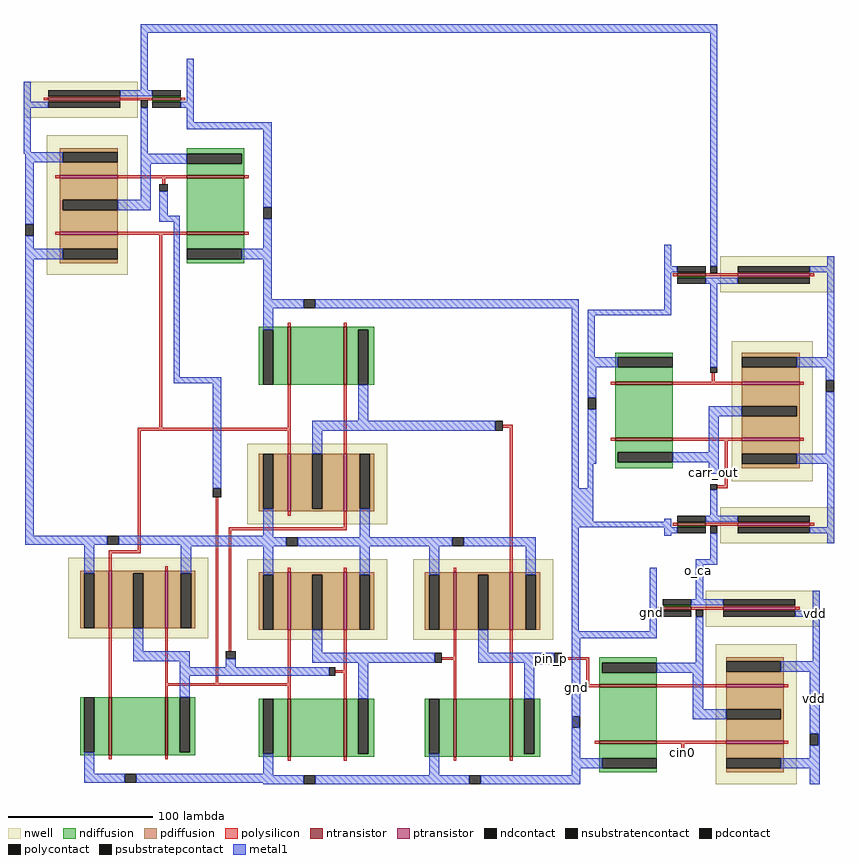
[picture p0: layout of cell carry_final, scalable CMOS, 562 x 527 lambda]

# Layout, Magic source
magic
tech scmos
<< nwell >>
rect 473 109 552 134
rect 480 0 536 97
<< ntransistor >>
rect 443 121 463 123
rect 399 67 439 69
rect 399 28 439 30
<< ptransistor >>
rect 485 121 535 123
rect 487 67 527 69
rect 487 28 527 30
<< ndiffusion >>
rect 443 123 463 124
rect 443 120 463 121
rect 399 84 439 88
rect 399 77 401 84
rect 399 69 439 77
rect 399 30 439 67
rect 399 18 439 28
rect 399 11 401 18
rect 399 8 439 11
<< pdiffusion >>
rect 485 123 535 124
rect 485 120 535 121
rect 487 85 527 88
rect 525 78 527 85
rect 487 69 527 78
rect 487 52 527 67
rect 525 45 527 52
rect 487 30 527 45
rect 487 18 527 28
rect 525 11 527 18
rect 487 8 527 11
<< ndcontact >>
rect 443 124 463 128
rect 443 116 463 120
rect 401 77 439 84
rect 401 11 439 18
<< pdcontact >>
rect 485 124 535 128
rect 485 116 535 120
rect 487 78 525 85
rect 487 45 525 52
rect 487 11 525 18
<< psubstratepcontact >>
rect 380 39 386 47
<< nsubstratencontact >>
rect 545 27 551 35
<< polysilicon >>
rect 440 121 443 123
rect 463 121 485 123
rect 535 121 538 123
rect 373 86 392 88
rect 390 69 392 86
rect 390 67 399 69
rect 439 67 487 69
rect 527 67 530 69
rect 396 28 399 30
rect 439 28 487 30
rect 527 28 530 30
rect 456 20 458 28
<< polycontact >>
rect 466 116 471 121
rect 368 83 373 91
<< metal1 >>
rect 81 521 481 527
rect 81 500 86 521
rect 476 375 481 521
rect 475 215 482 219
rect 384 178 392 205
rect 476 156 481 161
rect 466 152 481 156
rect 434 120 439 150
rect 466 128 471 152
rect 463 124 485 128
rect 434 116 443 120
rect 547 120 552 134
rect 535 116 552 120
rect 434 106 439 116
rect 380 101 439 106
rect 361 83 368 91
rect 380 47 386 101
rect 466 84 471 116
rect 547 85 552 116
rect 439 77 471 84
rect 525 78 552 85
rect 464 52 471 77
rect 464 45 487 52
rect 380 18 386 39
rect 545 35 552 78
rect 551 27 552 35
rect 545 18 552 27
rect 380 11 401 18
rect 525 11 552 18
rect 380 0 386 11
rect 545 0 552 11
use prop_tr1  prop_tr1_0
transform 1 0 -1 0 1 353
box 1 -353 386 153
use or_tr2  or_tr2_0
transform 0 1 391 -1 0 307
box -70 0 147 171
<< labels >>
rlabel metal1 383 67 383 67 3 gnd
rlabel metal1 548 59 548 59 7 vdd
rlabel metal1 435 119 435 119 3 gnd
rlabel metal1 549 118 549 118 7 vdd
rlabel polysilicon 457 22 457 22 1 cin0
rlabel metal1 468 148 468 148 1 o_ca
rlabel metal1 366 87 366 87 1 pin_p
rlabel metal1 478 216 478 216 1 carr_out
<< end >>

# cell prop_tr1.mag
magic
tech scmos
<< polysilicon >>
rect 97 63 99 67
rect 95 -107 97 28
rect 134 -284 136 -154
<< polycontact >>
rect 95 58 101 63
rect 132 -154 138 -148
<< metal1 >>
rect 82 148 87 153
rect 95 41 101 58
rect 95 37 109 41
rect 2 -181 8 12
rect 105 -71 109 37
rect 167 -18 173 12
rect 105 -75 138 -71
rect 132 -148 138 -75
rect 2 -187 44 -181
rect 354 -270 363 -262
use and_tr1  and_tr1_0
transform 0 -1 173 1 0 0
box 0 0 150 172
use xor_tr1  xor_tr1_0
transform 1 0 32 0 1 -352
box 0 -1 354 335
<< labels >>
rlabel polysilicon 96 -68 96 -68 1 p1
rlabel polysilicon 135 -169 135 -169 1 p2
rlabel metal1 359 -266 359 -266 1 pout
rlabel metal1 84 151 84 151 5 gout
<< end >>

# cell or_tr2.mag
magic
tech scmos
<< nwell >>
rect 115 92 140 171
<< ntransistor >>
rect 126 62 128 82
<< ptransistor >>
rect 126 104 128 154
<< ndiffusion >>
rect 125 62 126 82
rect 128 62 129 82
<< pdiffusion >>
rect 125 104 126 154
rect 128 104 129 154
<< ndcontact >>
rect 121 62 125 82
rect 129 62 133 82
<< pdcontact >>
rect 121 104 125 154
rect 129 104 133 154
<< polysilicon >>
rect 126 154 128 157
rect 69 95 102 97
rect 100 90 102 95
rect 22 86 28 88
rect 126 82 128 104
rect 126 59 128 62
<< polycontact >>
rect 18 85 22 90
rect 99 85 103 90
rect 128 85 133 90
<< metal1 >>
rect -36 166 12 171
rect 84 166 140 171
rect 129 154 133 166
rect -70 85 -65 90
rect -19 85 18 90
rect 83 84 89 91
rect 121 90 125 104
rect 103 85 125 90
rect 133 85 147 90
rect 121 82 125 85
rect 129 58 133 62
rect -22 5 -18 55
rect 123 53 135 58
rect -22 0 12 5
rect 125 4 129 53
rect 84 0 129 4
use first  first_0
transform 1 0 -145 0 1 96
box 78 -43 127 75
use nand_tr  nand_tr_0
transform 1 0 0 0 1 100
box 0 -100 97 71
<< labels >>
rlabel metal1 87 88 87 88 1 out_or
rlabel metal1 130 54 130 54 1 gnd
rlabel metal1 131 168 131 168 5 vdd
rlabel metal1 144 87 144 87 7 x_in2
<< end >>

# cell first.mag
magic
tech scmos
<< nwell >>
rect 86 -4 111 75
<< ntransistor >>
rect 98 -34 100 -14
<< ptransistor >>
rect 98 8 100 58
<< ndiffusion >>
rect 97 -34 98 -14
rect 100 -34 101 -14
<< pdiffusion >>
rect 97 8 98 58
rect 100 8 101 58
<< ndcontact >>
rect 93 -34 97 -14
rect 101 -34 105 -14
<< pdcontact >>
rect 93 8 97 58
rect 101 8 105 58
<< polysilicon >>
rect 98 58 100 61
rect 98 -14 100 8
rect 98 -37 100 -34
<< polycontact >>
rect 93 -11 98 -6
<< metal1 >>
rect 86 70 111 75
rect 93 58 97 70
rect 101 -6 105 8
rect 79 -11 93 -6
rect 101 -11 127 -6
rect 101 -14 105 -11
rect 93 -38 97 -34
rect 78 -43 127 -38
<< labels >>
rlabel metal1 96 -42 96 -42 1 gnd
rlabel metal1 95 72 95 72 5 vdd
<< end >>

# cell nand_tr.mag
magic
tech scmos
<< nwell >>
rect 0 0 97 56
<< ntransistor >>
rect 28 -81 30 -41
rect 67 -81 69 -41
<< ptransistor >>
rect 28 7 30 47
rect 67 7 69 47
<< ndiffusion >>
rect 8 -79 11 -41
rect 18 -79 28 -41
rect 8 -81 28 -79
rect 30 -81 67 -41
rect 69 -79 77 -41
rect 84 -79 88 -41
rect 69 -81 88 -79
<< pdiffusion >>
rect 8 45 28 47
rect 8 7 11 45
rect 18 7 28 45
rect 30 45 67 47
rect 30 7 45 45
rect 52 7 67 45
rect 69 45 88 47
rect 69 7 78 45
rect 85 7 88 45
<< ndcontact >>
rect 11 -79 18 -41
rect 77 -79 84 -41
<< pdcontact >>
rect 11 7 18 45
rect 45 7 52 45
rect 78 7 85 45
<< psubstratepcontact >>
rect 39 -100 47 -94
<< nsubstratencontact >>
rect 27 65 35 71
<< polysilicon >>
rect 28 47 30 50
rect 67 47 69 50
rect 28 -41 30 7
rect 67 -41 69 7
rect 28 -84 30 -81
rect 67 -84 69 -81
<< metal1 >>
rect 11 65 27 71
rect 35 65 85 71
rect 11 45 18 65
rect 78 45 85 65
rect 45 -9 52 7
rect 45 -16 84 -9
rect 77 -41 84 -16
rect 11 -94 18 -79
rect 11 -100 39 -94
rect 47 -100 85 -94
<< labels >>
rlabel metal1 67 -97 67 -97 1 gnd
rlabel metal1 59 68 59 68 5 vdd
<< end >>

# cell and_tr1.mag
magic
tech scmos
<< metal1 >>
rect 84 167 110 172
rect 83 86 103 91
rect 101 6 106 55
rect 84 0 106 6
use nand_tr  nand_tr_0
transform 1 0 0 0 1 100
box 0 -100 97 71
use first  first_0
transform 1 0 23 0 1 97
box 78 -43 127 75
<< end >>

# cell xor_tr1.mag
magic
tech scmos
<< nwell >>
rect 124 179 221 235
rect 124 99 221 155
rect 239 99 336 155
<< ntransistor >>
rect 152 276 154 316
rect 191 276 193 316
rect 152 18 154 58
rect 191 18 193 58
rect 267 18 269 58
rect 306 18 308 58
<< ptransistor >>
rect 152 188 154 228
rect 191 188 193 228
rect 152 106 154 146
rect 191 106 193 146
rect 267 106 269 146
rect 306 106 308 146
<< ndiffusion >>
rect 132 314 152 316
rect 132 276 135 314
rect 142 276 152 314
rect 154 276 191 316
rect 193 314 212 316
rect 193 276 201 314
rect 208 276 212 314
rect 132 20 135 58
rect 142 20 152 58
rect 132 18 152 20
rect 154 18 191 58
rect 193 20 201 58
rect 208 20 212 58
rect 193 18 212 20
rect 247 20 250 58
rect 257 20 267 58
rect 247 18 267 20
rect 269 18 306 58
rect 308 20 316 58
rect 323 20 327 58
rect 308 18 327 20
<< pdiffusion >>
rect 132 190 135 228
rect 142 190 152 228
rect 132 188 152 190
rect 154 190 169 228
rect 176 190 191 228
rect 154 188 191 190
rect 193 190 202 228
rect 209 190 212 228
rect 193 188 212 190
rect 132 144 152 146
rect 132 106 135 144
rect 142 106 152 144
rect 154 144 191 146
rect 154 106 169 144
rect 176 106 191 144
rect 193 144 212 146
rect 193 106 202 144
rect 209 106 212 144
rect 247 144 267 146
rect 247 106 250 144
rect 257 106 267 144
rect 269 144 306 146
rect 269 106 284 144
rect 291 106 306 144
rect 308 144 327 146
rect 308 106 317 144
rect 324 106 327 144
<< ndcontact >>
rect 135 276 142 314
rect 201 276 208 314
rect 135 20 142 58
rect 201 20 208 58
rect 250 20 257 58
rect 316 20 323 58
<< pdcontact >>
rect 135 190 142 228
rect 169 190 176 228
rect 202 190 209 228
rect 135 106 142 144
rect 169 106 176 144
rect 202 106 209 144
rect 250 106 257 144
rect 284 106 291 144
rect 317 106 324 144
<< psubstratepcontact >>
rect 163 329 171 335
rect 163 -1 171 5
rect 278 -1 286 5
<< nsubstratencontact >>
rect 151 164 159 170
rect 266 164 274 170
<< polysilicon >>
rect 152 316 154 319
rect 191 316 193 319
rect 152 246 154 276
rect 48 244 154 246
rect 48 161 50 244
rect 152 228 154 244
rect 191 228 193 276
rect 301 246 308 248
rect 152 185 154 188
rect 191 177 193 188
rect 28 159 50 161
rect 111 175 193 177
rect 28 149 30 159
rect 111 91 113 175
rect 152 146 154 149
rect 191 146 193 149
rect 267 146 269 149
rect 306 146 308 246
rect 152 69 154 106
rect 191 78 193 106
rect 267 87 269 106
rect 259 85 269 87
rect 185 76 193 78
rect 69 67 154 69
rect 152 58 154 67
rect 191 58 193 76
rect 267 58 269 85
rect 306 58 308 106
rect 152 15 154 18
rect 191 15 193 18
rect 267 15 269 18
rect 306 15 308 18
<< polycontact >>
rect 296 244 301 251
rect 109 86 116 91
rect 181 74 185 80
rect 254 83 259 90
<< metal1 >>
rect 135 329 163 335
rect 171 329 354 335
rect 135 314 142 329
rect 201 251 208 276
rect 169 244 296 251
rect 169 228 176 244
rect 135 171 142 190
rect 84 170 142 171
rect 202 170 209 190
rect 84 164 151 170
rect 159 164 266 170
rect 274 164 324 170
rect 135 144 142 164
rect 202 144 209 164
rect 250 144 257 164
rect 317 144 324 164
rect 109 80 116 86
rect 169 90 176 106
rect 284 90 291 106
rect 169 83 254 90
rect 284 83 323 90
rect 83 74 181 80
rect 201 58 208 83
rect 316 58 323 83
rect 135 6 142 20
rect 84 5 142 6
rect 250 5 257 20
rect 349 5 354 329
rect 84 0 163 5
rect 135 -1 163 0
rect 171 -1 278 5
rect 286 -1 354 5
use nand_tr  nand_tr_0
transform 1 0 0 0 1 100
box 0 -100 97 71
<< labels >>
rlabel metal1 191 332 191 332 5 gnd
rlabel metal1 191 2 191 2 1 gnd
rlabel metal1 183 167 183 167 5 vdd
rlabel metal1 298 167 298 167 5 vdd
rlabel metal1 306 2 306 2 1 gnd
rlabel metal1 319 86 319 86 1 out
<< end >>
